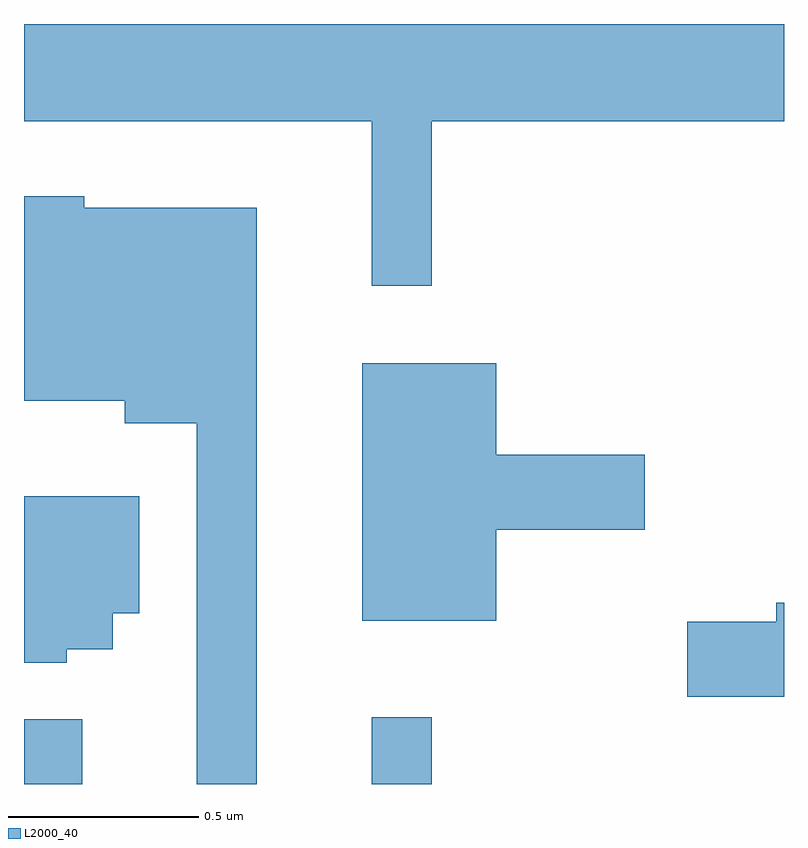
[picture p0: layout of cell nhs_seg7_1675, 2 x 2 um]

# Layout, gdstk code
import gdstk
lib = gdstk.Library(unit=1e-6, precision=1e-09)
def R(c, l, rs):  # rectangles x0, y0, x1, y1
    for r in rs: c.add(gdstk.rectangle(r[:2], r[2:], *l))
def P(c, l, *ps):  # polygons
    for p in ps: c.add(gdstk.Polygon(p, *l))
L2000_40 = (2000, 40)

nhs_seg7_1675 = lib.new_cell('nhs_seg7_1675')
R(nhs_seg7_1675, L2000_40, [(197.611,1699.252,197.764,1699.423), (198.526,1699.252,198.684,1699.428)])
P(nhs_seg7_1675, L2000_40, [(198.684,1700.996),(199.611,1700.996),(199.611,1701.252),(197.611,1701.252),(197.611,1700.996),(198.526,1700.996),(198.526,1700.563),(198.684,1700.563)],
  [(198.224,1700.769),(197.769,1700.769),(197.769,1700.799),(197.611,1700.799),(197.611,1700.261),(197.876,1700.261),(197.876,1700.201),(198.066,1700.201),(198.066,1699.252),(198.224,1699.252)],
  [(198.854,1699.921),(199.244,1699.921),(199.244,1700.119),(198.854,1700.119),(198.854,1700.359),(198.501,1700.359),(198.501,1699.681),(198.854,1699.681)],
  [(197.724,1699.606),(197.844,1699.606),(197.844,1699.701),(197.914,1699.701),(197.914,1700.009),(197.611,1700.009),(197.611,1699.571),(197.724,1699.571)],
  [(199.611,1699.729),(199.591,1699.729),(199.591,1699.679),(199.356,1699.679),(199.356,1699.481),(199.611,1699.481)])

lib.write_gds('nhs_seg7_1675.gds')
